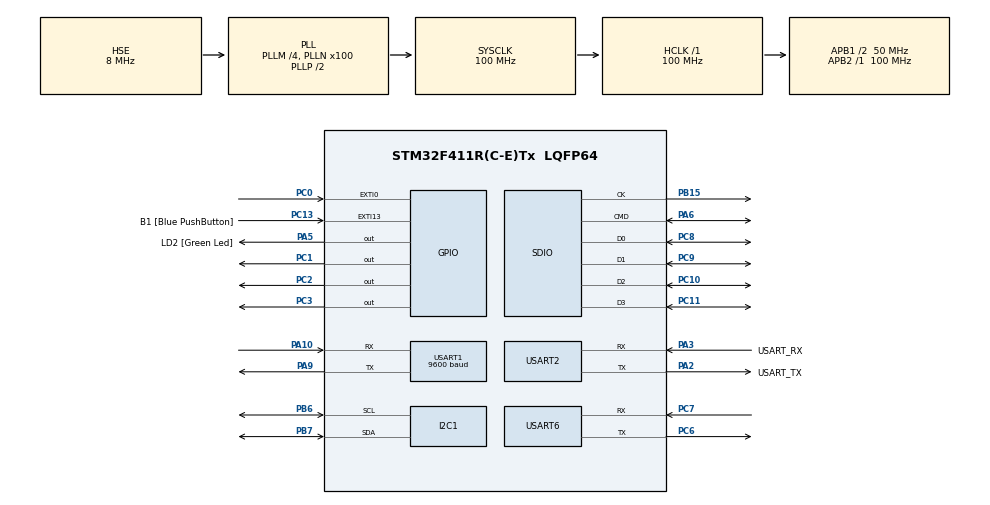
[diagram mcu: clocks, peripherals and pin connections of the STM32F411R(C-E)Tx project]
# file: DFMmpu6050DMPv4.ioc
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Dma.Request0=SDIO_RX
Dma.Request1=SDIO_TX
Dma.SDIO_RX.0.Direction=DMA_PERIPH_TO_MEMORY
Dma.SDIO_RX.0.FIFOMode=DMA_FIFOMODE_ENABLE
Dma.SDIO_RX.0.FIFOThreshold=DMA_FIFO_THRESHOLD_FULL
Dma.SDIO_RX.0.Instance=DMA2_Stream3
Dma.SDIO_RX.0.MemBurst=DMA_MBURST_INC4
Dma.SDIO_RX.0.MemDataAlignment=DMA_MDATAALIGN_WORD
Dma.SDIO_RX.0.MemInc=DMA_MINC_ENABLE
Dma.SDIO_RX.0.Mode=DMA_PFCTRL
Dma.SDIO_RX.0.PeriphBurst=DMA_PBURST_INC4
Dma.SDIO_RX.0.PeriphDataAlignment=DMA_PDATAALIGN_WORD
Dma.SDIO_RX.0.PeriphInc=DMA_PINC_DISABLE
Dma.SDIO_RX.0.Priority=DMA_PRIORITY_LOW
Dma.SDIO_TX.1.Direction=DMA_MEMORY_TO_PERIPH
Dma.SDIO_TX.1.FIFOMode=DMA_FIFOMODE_ENABLE
Dma.SDIO_TX.1.FIFOThreshold=DMA_FIFO_THRESHOLD_FULL
Dma.SDIO_TX.1.Instance=DMA2_Stream6
Dma.SDIO_TX.1.MemBurst=DMA_MBURST_INC4
Dma.SDIO_TX.1.MemDataAlignment=DMA_MDATAALIGN_WORD
Dma.SDIO_TX.1.MemInc=DMA_MINC_ENABLE
Dma.SDIO_TX.1.Mode=DMA_PFCTRL
Dma.SDIO_TX.1.PeriphBurst=DMA_PBURST_INC4
Dma.SDIO_TX.1.PeriphDataAlignment=DMA_PDATAALIGN_WORD
Dma.SDIO_TX.1.PeriphInc=DMA_PINC_DISABLE
Dma.SDIO_TX.1.Priority=DMA_PRIORITY_LOW
FATFS.USE_DMA_CODE_SD=1
I2C1.I2C_Mode=I2C_Fast
Mcu.Family=STM32F4
Mcu.Name=STM32F411R(C-E)Tx
Mcu.Package=LQFP64
NVIC.DMA2_Stream3_IRQn=true\:0\:0\:false\:false\:true\:false\:true
NVIC.DMA2_Stream6_IRQn=true\:0\:0\:false\:false\:true\:false\:true
NVIC.PriorityGroup=NVIC_PRIORITYGROUP_0
NVIC.SDIO_IRQn=true\:0\:0\:false\:false\:true\:true\:true
NVIC.TIM3_IRQn=true\:0\:0\:false\:false\:true\:true\:true
NVIC.USART1_IRQn=true\:0\:0\:false\:false\:true\:true\:true
NVIC.USART6_IRQn=true\:0\:0\:false\:false\:true\:true\:true
PA10.Mode=Asynchronous
PA10.Signal=USART1_RX
PA13.GPIO_Label=TMS
PA13.Mode=Serial_Wire
PA13.Signal=SYS_JTMS-SWDIO
PA14.GPIO_Label=TCK
PA14.Mode=Serial_Wire
PA14.Signal=SYS_JTCK-SWCLK
PA2.GPIO_Label=USART_TX
PA2.Mode=Asynchronous
PA2.Signal=USART2_TX
PA3.GPIO_Label=USART_RX
PA3.Mode=Asynchronous
PA3.Signal=USART2_RX
PA5.GPIO_Label=LD2 [Green Led]
PA5.Signal=GPIO_Output
PA6.Mode=SD_4_bits_Wide_bus
PA6.Signal=SDIO_CMD
PA9.Mode=Asynchronous
PA9.Signal=USART1_TX
PB15.Mode=SD_4_bits_Wide_bus
PB15.Signal=SDIO_CK
PB3.GPIO_Label=SWO
PB3.Signal=SYS_JTDO-SWO
PB6.Mode=I2C
PB6.Signal=I2C1_SCL
PB7.Mode=I2C
PB7.Signal=I2C1_SDA
PC0.Signal=GPXTI0
PC1.Signal=GPIO_Output
PC10.Mode=SD_4_bits_Wide_bus
PC10.Signal=SDIO_D2
PC11.Mode=SD_4_bits_Wide_bus
PC11.Signal=SDIO_D3
PC13-ANTI_TAMP.GPIO_Label=B1 [Blue PushButton]
PC13-ANTI_TAMP.GPIO_ModeDefaultEXTI=GPIO_MODE_IT_FALLING
PC13-ANTI_TAMP.Signal=GPXTI13
PC14-OSC32_IN.Mode=LSE-External-Oscillator
PC14-OSC32_IN.Signal=RCC_OSC32_IN
PC15-OSC32_OUT.Mode=LSE-External-Oscillator
PC15-OSC32_OUT.Signal=RCC_OSC32_OUT
PC2.Signal=GPIO_Output
PC3.Signal=GPIO_Output
PC6.Mode=Asynchronous
PC6.Signal=USART6_TX
PC7.Mode=Asynchronous
PC7.Signal=USART6_RX
PC8.Mode=SD_4_bits_Wide_bus
PC8.Signal=SDIO_D0
PC9.Mode=SD_4_bits_Wide_bus
PC9.Signal=SDIO_D1
PH0\ -\ OSC_IN.Mode=HSE-External-Clock-Source
PH0\ -\ OSC_IN.Signal=RCC_OSC_IN
PH1\ -\ OSC_OUT.Mode=HSE-External-Clock-Source
PH1\ -\ OSC_OUT.Signal=RCC_OSC_OUT
ProjectManager.HeapSize=0x200
ProjectManager.StackSize=0x400
ProjectManager.TargetToolchain=STM32CubeIDE
RCC.48MHZClocksFreq_Value=40000000
RCC.AHBFreq_Value=100000000
RCC.APB1CLKDivider=RCC_HCLK_DIV2
RCC.APB1Freq_Value=50000000
RCC.APB1TimFreq_Value=100000000
RCC.APB2Freq_Value=100000000
RCC.APB2TimFreq_Value=100000000
RCC.CortexFreq_Value=100000000
RCC.FLatency-AdvancedSettings=FLASH_LATENCY_3
RCC.HCLKFreq_Value=100000000
RCC.HSE_VALUE=8000000
RCC.HSI_VALUE=16000000
RCC.PLLM=4
RCC.PLLN=100
RCC.PLLQ=5
RCC.PLLSourceVirtual=RCC_PLLSOURCE_HSE
RCC.SYSCLKFreq_VALUE=100000000
RCC.SYSCLKSource=RCC_SYSCLKSOURCE_PLLCLK
RCC.VCOOutputFreq_Value=200000000
USART1.BaudRate=9600
USART1.VirtualMode=VM_ASYNC
USART2.VirtualMode=VM_ASYNC
USART6.VirtualMode=VM_ASYNC
VP_FATFS_VS_SDIO.Mode=SDIO
VP_TIM3_VS_ClockSourceINT.Mode=Internal
board=NUCLEO-F411RE

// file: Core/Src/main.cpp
/* USER CODE BEGIN Header */
/**
  ******************************************************************************
  * @file           : main.c
  * @brief          : Main program body
  ******************************************************************************
  * @attention
  *
  * <h2><center>&copy; Copyright (c) 2021 STMicroelectronics.
  * All rights reserved.</center></h2>
  *
  * This software component is licensed by ST under Ultimate Liberty license
  * SLA0044, the "License"; You may not use this file except in compliance with
  * the License. You may obtain a copy of the License at:
  *                             www.st.com/SLA0044
  *
  ******************************************************************************
  */
/* USER CODE END Header */
#include "main.h"
#include "dma.h"
#include "fatfs.h"
#include "i2c.h"
#include "sdio.h"
#include "tim.h"
#include "usart.h"
#include "gpio.h"

/* USER CODE BEGIN Includes */
#include "MPU6050/mpu6050.h"
#include <stdio.h>
#include "ArduinoWrapper.h"
/* USER CODE END Includes */

void SystemClock_Config(void);

int main(void)
{

  /* MCU Configuration--------------------------------------------------------*/

  /* Reset of all peripherals, Initializes the Flash interface and the Systick. */
  HAL_Init();

  /* Configure the system clock */
  SystemClock_Config();

  /* Initialize all configured peripherals */
  MX_GPIO_Init();
  MX_USART2_UART_Init();
  MX_SDIO_SD_Init();
  MX_USART1_UART_Init();
  MX_USART6_UART_Init();
  MX_DMA_Init();
  MX_I2C1_Init();
  MX_TIM3_Init();
  MX_FATFS_Init();
  /* USER CODE BEGIN 2 */
  MPU6050_initialize();
  HAL_Delay(100);
  DMP_Init();
  HAL_Delay(100);

  float accelx, accely, accelz =0;
  /* USER CODE END 2 */

  /* Infinite loop */
  /* USER CODE BEGIN WHILE */
  while (1)
  {
	  Read_DMP();
	      accelx = accel[0] / (float)16384;
	      accely = accel[1] / (float)16384;
	      accelz = accel[2] / (float)16384;

	      //temp23 = Read_Temperature();
	      printf("Pitch : ");
	      printf("%f\r\n",Pitch);
	      printf("Roll : ");
	      printf("%f\r\n", Roll);
	      printf("Yaw : ");
	      printf("%f\r\n", Yaw);
	      //printf("%d degree celcius \r\n", temp23);
	      printf("Accel X : ");
	      printf("%.2f\r\n", accelx);
	      printf("Accel Y : ");
	      printf("%.2f\r\n", accely);
	      printf("Accel Z : ");
	      printf("%.2f\r\n", accelz);
	      HAL_Delay(100);
    /* USER CODE END WHILE */

  }
}

void SystemClock_Config(void)
{
  RCC_OscInitTypeDef RCC_OscInitStruct = {0};
  RCC_ClkInitTypeDef RCC_ClkInitStruct = {0};

  /** Configure the main internal regulator output voltage
  */
  __HAL_RCC_PWR_CLK_ENABLE();
  __HAL_PWR_VOLTAGESCALING_CONFIG(PWR_REGULATOR_VOLTAGE_SCALE1);
  /** Initializes the RCC Oscillators according to the specified parameters
  * in the RCC_OscInitTypeDef structure.
  */
  RCC_OscInitStruct.OscillatorType = RCC_OSCILLATORTYPE_HSE;
  RCC_OscInitStruct.HSEState = RCC_HSE_BYPASS;
  RCC_OscInitStruct.PLL.PLLState = RCC_PLL_ON;
  RCC_OscInitStruct.PLL.PLLSource = RCC_PLLSOURCE_HSE;
  RCC_OscInitStruct.PLL.PLLM = 4;
  RCC_OscInitStruct.PLL.PLLN = 100;
  RCC_OscInitStruct.PLL.PLLP = RCC_PLLP_DIV2;
  RCC_OscInitStruct.PLL.PLLQ = 5;
  if (HAL_RCC_OscConfig(&RCC_OscInitStruct) != HAL_OK)
  {
    Error_Handler();
  }
  /** Initializes the CPU, AHB and APB buses clocks
  */
  RCC_ClkInitStruct.ClockType = RCC_CLOCKTYPE_HCLK|RCC_CLOCKTYPE_SYSCLK
                              |RCC_CLOCKTYPE_PCLK1|RCC_CLOCKTYPE_PCLK2;
  RCC_ClkInitStruct.SYSCLKSource = RCC_SYSCLKSOURCE_PLLCLK;
  RCC_ClkInitStruct.AHBCLKDivider = RCC_SYSCLK_DIV1;
  RCC_ClkInitStruct.APB1CLKDivider = RCC_HCLK_DIV2;
  RCC_ClkInitStruct.APB2CLKDivider = RCC_HCLK_DIV1;

  if (HAL_RCC_ClockConfig(&RCC_ClkInitStruct, FLASH_LATENCY_3) != HAL_OK)
  {
    Error_Handler();
  }
}

void Error_Handler(void)
{
  __disable_irq();
  while (1)
  {
  }
}

/************************ (C) COPYRIGHT STMicroelectronics *****END OF FILE****/
